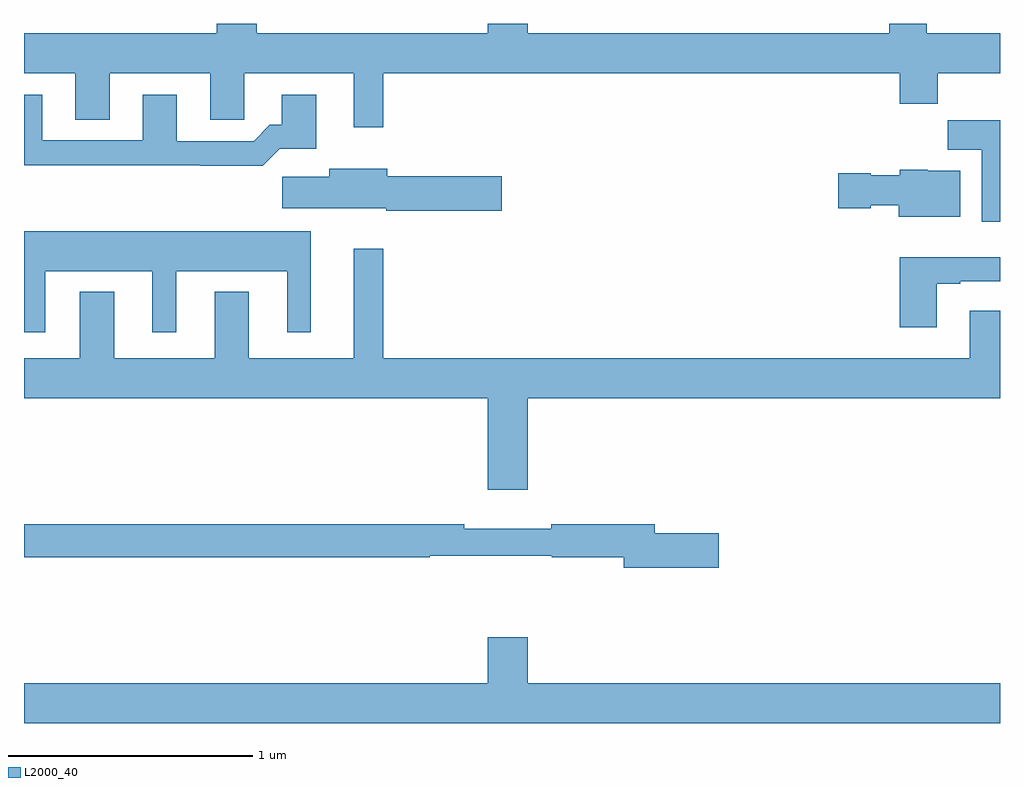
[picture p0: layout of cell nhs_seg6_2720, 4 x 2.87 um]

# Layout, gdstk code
import gdstk
lib = gdstk.Library(unit=1e-6, precision=1e-09)
def P(c, l, *ps):  # polygons
    for p in ps: c.add(gdstk.Polygon(p, *l))
L2000_40 = (2000, 40)

nhs_seg6_2720 = lib.new_cell('nhs_seg6_2720')
P(nhs_seg6_2720, L2000_40, [(272.473,987.296),(274.589,987.296),(274.589,987.172),(274.745,987.172),(274.745,987.296),(275,987.296),(275,987.46),(274.699,987.46),(274.699,987.5),(274.547,987.5),(274.547,987.46),(273.064,987.46),(273.064,987.5),(272.9,987.5),(272.9,987.46),(271.954,987.46),(271.954,987.5),(271.79,987.5),(271.79,987.46),(271,987.46),(271,987.296),(271.211,987.296),(271.211,987.106),(271.351,987.106),(271.351,987.296),(271.763,987.296),(271.763,987.106),(271.902,987.106),(271.902,987.296),(272.351,987.296),(272.351,987.075),(272.473,987.075)],
  [(272.048,986.987),(272.197,986.987),(272.197,987.208),(272.057,987.208),(272.057,987.085),(272.008,987.085),(271.941,987.018),(271.627,987.018),(271.627,987.208),(271.487,987.208),(271.487,987.021),(271.075,987.021),(271.075,987.208),(271,987.208),(271,986.92),(271.723,986.92),(271.723,986.918),(271.979,986.918)],
  [(275,987.103),(274.786,987.103),(274.786,986.984),(274.925,986.984),(274.925,986.688),(275,986.688)],
  [(272.959,986.874),(272.488,986.874),(272.488,986.905),(272.252,986.905),(272.252,986.873),(272.058,986.873),(272.058,986.744),(272.484,986.744),(272.484,986.732),(272.959,986.732)],
  [(274.837,986.896),(274.704,986.896),(274.704,986.902),(274.59,986.902),(274.59,986.878),(274.47,986.878),(274.47,986.886),(274.338,986.886),(274.338,986.744),(274.47,986.744),(274.47,986.756),(274.586,986.756),(274.586,986.708),(274.837,986.708)],
  [(271.087,986.486),(271.526,986.486),(271.526,986.235),(271.624,986.235),(271.624,986.486),(272.078,986.486),(272.078,986.235),(272.176,986.235),(272.176,986.65),(271,986.65),(271,986.235),(271.087,986.235)],
  [(273.064,985.964),(275,985.964),(275,986.323),(274.877,986.323),(274.877,986.128),(272.473,986.128),(272.473,986.578),(272.351,986.578),(272.351,986.128),(271.921,986.128),(271.921,986.401),(271.781,986.401),(271.781,986.128),(271.369,986.128),(271.369,986.401),(271.229,986.401),(271.229,986.128),(271,986.128),(271,985.964),(272.9,985.964),(272.9,985.59),(273.064,985.59)],
  [(274.741,986.433),(274.837,986.433),(274.837,986.445),(275,986.445),(275,986.542),(274.589,986.542),(274.589,986.256),(274.741,986.256)],
  [(273.847,985.412),(273.586,985.412),(273.586,985.448),(273.16,985.448),(273.16,985.429),(272.804,985.429),(272.804,985.448),(271,985.448),(271,985.312),(272.662,985.312),(272.662,985.32),(273.162,985.32),(273.162,985.312),(273.458,985.312),(273.458,985.27),(273.847,985.27)],
  [(275,984.796),(273.064,984.796),(273.064,984.985),(272.9,984.985),(272.9,984.796),(271,984.796),(271,984.632),(275,984.632)])

lib.write_gds('nhs_seg6_2720.gds')
